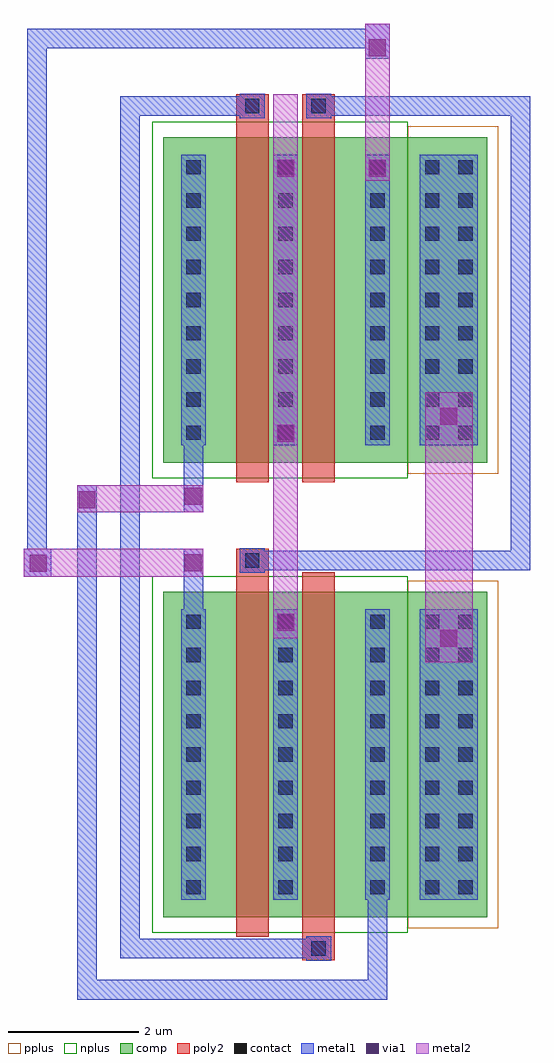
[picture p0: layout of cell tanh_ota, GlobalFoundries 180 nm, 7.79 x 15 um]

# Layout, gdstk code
import gdstk
lib = gdstk.Library(unit=1e-6, precision=5e-09)
def R(c, l, rs):  # rectangles x0, y0, x1, y1
    for r in rs: c.add(gdstk.rectangle(r[:2], r[2:], *l))
def A(c, l, x, y, w, h, nx, ny, dx, dy):  # array of equal rectangles
    R(c, l, [(x+i*dx, y+j*dy, x+i*dx+w, y+j*dy+h) for i in range(nx) for j in range(ny)])
comp = (22, 0)
poly2 = (30, 0)
pplus = (31, 0)
nplus = (32, 0)
contact = (33, 0)
metal1 = (34, 0)
via1 = (35, 0)
metal2 = (36, 0)

nfet_1 = lib.new_cell('nfet$1')
R(nfet_1, comp, [(-0.93,0,0,5), (0,0,1.9,5), (1.9,0,2.83,5), (2.83,0,4.05,5)])
R(nfet_1, poly2, [(0.19,-0.66,0.69,-0.3), (0.19,-0.3,0.69,5.3), (1.21,-0.3,1.71,5.3), (1.21,5.3,1.71,5.66)])
R(nfet_1, pplus, [(2.83,-0.17,4.22,5.17)])
R(nfet_1, nplus, [(-1.1,-0.24,2.83,5.24)])
A(nfet_1, contact, -0.575, 0.35, 0.22, 0.22, 3, 9, 1.415, 0.51)
A(nfet_1, contact, 3.095, 0.35, 0.22, 0.22, 1, 9, 0, 0.51)
A(nfet_1, contact, 3.605, 0.35, 0.22, 0.22, 1, 9, 0, 0.51)
R(nfet_1, contact, [(0.33,-0.59,0.55,-0.37), (1.35,5.37,1.57,5.59)])
A(nfet_1, metal1, -0.655, 0.27, 0.38, 4.46, 3, 1, 1.415, 0)
R(nfet_1, metal1, [(0.25,-0.67,0.63,-0.29), (3.015,0.27,3.905,4.73), (1.27,5.29,1.65,5.67)])

nfet = lib.new_cell('nfet')
R(nfet, comp, [(-0.93,0,0,5), (0,0,1.9,5), (1.9,0,2.83,5), (2.83,0,4.05,5)])
R(nfet, poly2, [(0.19,-0.3,0.69,5.3), (1.21,-0.3,1.71,5.3), (0.19,5.3,0.69,5.66), (1.21,5.3,1.71,5.66)])
R(nfet, pplus, [(2.83,-0.17,4.22,5.17)])
R(nfet, nplus, [(-1.1,-0.24,2.83,5.24)])
A(nfet, contact, -0.575, 0.35, 0.22, 0.22, 3, 9, 1.415, 0.51)
A(nfet, contact, 3.095, 0.35, 0.22, 0.22, 1, 9, 0, 0.51)
A(nfet, contact, 3.605, 0.35, 0.22, 0.22, 1, 9, 0, 0.51)
R(nfet, contact, [(0.33,5.37,0.55,5.59), (1.35,5.37,1.57,5.59)])
A(nfet, metal1, -0.655, 0.27, 0.38, 4.46, 3, 1, 1.415, 0)
R(nfet, metal1, [(3.015,0.27,3.905,4.73), (0.25,5.29,0.63,5.67), (1.27,5.29,1.65,5.67)])

tanh_ota = lib.new_cell('tanh_ota')
R(tanh_ota, metal1, [(0.3,7.78,0.725,8.205), (5.55,15.74,5.93,16.28)])
R(tanh_ota, via1, [(6.705,6.7,6.965,6.96), (4.2,6.945,4.46,7.205), (0.395,7.855,0.655,8.115), (2.78,7.86,3.04,8.12), (1.145,8.83,1.405,9.09), (2.78,8.885,3.04,9.145), (4.2,9.855,4.46,10.115), (6.705,10.115,6.965,10.375), (4.2,13.925,4.46,14.185), (5.605,13.925,5.865,14.185), (5.605,15.78,5.865,16.04)])
R(tanh_ota, metal2, [(6.47,6.465,7.2,10.61), (4.135,6.83,4.515,15.19), (0.3,7.78,3.06,8.205), (1.125,8.77,3.06,9.18), (5.55,13.865,5.93,16.28)])
tanh_ota.add(gdstk.FlexPath([(3.625,15.01),(1.935,15.01),(1.935,2.065),(4.645,2.065),(4.645,2.065)], 0.3, ends="flush", simple_path=True, layer=34, datatype=0))  # metal1
tanh_ota.add(gdstk.FlexPath([(5.74,2.815),(5.74,1.43),(1.275,1.43),(1.275,9.18)], 0.3, ends="flush", simple_path=True, layer=34, datatype=0))  # metal1
tanh_ota.add(gdstk.FlexPath([(2.91,9.8),(2.91,8.77)], 0.3, ends="flush", simple_path=True, layer=34, datatype=0))  # metal1
tanh_ota.add(gdstk.FlexPath([(4.005,8.025),(7.94,8.025),(7.94,15.01),(5.025,15.01),(5.025,15.01)], 0.3, ends="flush", simple_path=True, layer=34, datatype=0))  # metal1
tanh_ota.add(gdstk.FlexPath([(2.91,7.275),(2.91,8.205)], 0.3, ends="flush", simple_path=True, layer=34, datatype=0))  # metal1
tanh_ota.add(gdstk.FlexPath([(5.55,16.05),(0.51,16.05),(0.51,8.205),(0.51,8.205)], 0.3, ends="flush", simple_path=True, layer=34, datatype=0))  # metal1
tanh_ota.add(gdstk.Reference(nfet_1, (3.375,7.545), x_reflection=True))
tanh_ota.add(gdstk.Reference(nfet, (3.375,9.53)))

lib.write_gds('tanh_ota.gds')
